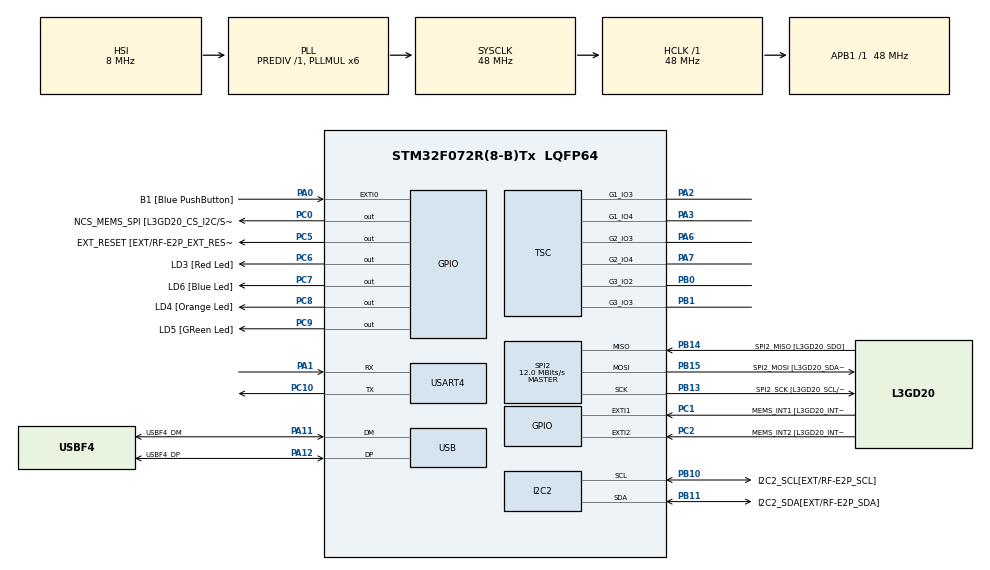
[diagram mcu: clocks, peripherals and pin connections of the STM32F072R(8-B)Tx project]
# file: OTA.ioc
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Dma.Request0=USART4_RX
Dma.Request1=USART4_TX
Dma.USART4_RX.0.Direction=DMA_PERIPH_TO_MEMORY
Dma.USART4_RX.0.Instance=DMA1_Channel6
Dma.USART4_RX.0.MemDataAlignment=DMA_MDATAALIGN_BYTE
Dma.USART4_RX.0.MemInc=DMA_MINC_ENABLE
Dma.USART4_RX.0.Mode=DMA_NORMAL
Dma.USART4_RX.0.PeriphDataAlignment=DMA_PDATAALIGN_BYTE
Dma.USART4_RX.0.PeriphInc=DMA_PINC_DISABLE
Dma.USART4_RX.0.Priority=DMA_PRIORITY_LOW
Dma.USART4_TX.1.Direction=DMA_MEMORY_TO_PERIPH
Dma.USART4_TX.1.Instance=DMA1_Channel7
Dma.USART4_TX.1.MemDataAlignment=DMA_MDATAALIGN_BYTE
Dma.USART4_TX.1.MemInc=DMA_MINC_ENABLE
Dma.USART4_TX.1.Mode=DMA_NORMAL
Dma.USART4_TX.1.PeriphDataAlignment=DMA_PDATAALIGN_BYTE
Dma.USART4_TX.1.PeriphInc=DMA_PINC_DISABLE
Dma.USART4_TX.1.Priority=DMA_PRIORITY_LOW
I2C2.Timing=0x20303E5D
Mcu.Family=STM32F0
Mcu.Name=STM32F072R(8-B)Tx
Mcu.Package=LQFP64
NVIC.DMA1_Channel4_5_6_7_IRQn=true\:0\:0\:false\:false\:true\:false\:true\:true
NVIC.USART3_4_IRQn=true\:0\:0\:false\:false\:true\:true\:true\:true
PA0.GPIO_Label=B1 [Blue PushButton]
PA0.GPIO_ModeDefaultEXTI=GPIO_MODE_EVT_RISING
PA0.Signal=GPXTI0
PA1.Mode=Asynchronous
PA1.Signal=USART4_RX
PA11.GPIO_Label=USBF4_DM
PA11.Mode=Device
PA11.Signal=USB_DM
PA12.GPIO_Label=USBF4_DP
PA12.Mode=Device
PA12.Signal=USB_DP
PA13.GPIO_Label=SWDIO
PA13.Mode=Serial_Wire
PA13.Signal=SYS_SWDIO
PA14.GPIO_Label=SWCLK
PA14.Mode=Serial_Wire
PA14.Signal=SYS_SWCLK
PA2.Mode=G1_IO3-Channel
PA2.Signal=TSC_G1_IO3
PA3.Mode=G1_IO4-Sampling
PA3.Signal=TSC_G1_IO4
PA6.Mode=G2_IO3-Channel
PA6.Signal=TSC_G2_IO3
PA7.Mode=G2_IO4-Sampling
PA7.Signal=TSC_G2_IO4
PB0.Mode=G3_IO2-Channel
PB0.Signal=TSC_G3_IO2
PB1.Mode=G3_IO3-Sampling
PB1.Signal=TSC_G3_IO3
PB10.GPIO_Label=I2C2_SCL[EXT/RF-E2P_SCL]
PB10.GPIO_Pu=GPIO_PULLUP
PB10.Mode=I2C
PB10.Signal=I2C2_SCL
PB11.GPIO_Label=I2C2_SDA[EXT/RF-E2P_SDA]
PB11.GPIO_Pu=GPIO_PULLUP
PB11.Mode=I2C
PB11.Signal=I2C2_SDA
PB13.GPIO_Label=SPI2_SCK [L3GD20_SCL/SPC]
PB13.Mode=Full_Duplex_Master
PB13.Signal=SPI2_SCK
PB14.GPIO_Label=SPI2_MISO [L3GD20_SDO]
PB14.Mode=Full_Duplex_Master
PB14.Signal=SPI2_MISO
PB15.GPIO_Label=SPI2_MOSI [L3GD20_SDA/SDI]
PB15.Mode=Full_Duplex_Master
PB15.Signal=SPI2_MOSI
PC0.GPIO_Label=NCS_MEMS_SPI [L3GD20_CS_I2C/SPI]
PC0.Signal=GPIO_Output
PC1.GPIO_Label=MEMS_INT1 [L3GD20_INT1]
PC1.GPIO_ModeDefaultEXTI=GPIO_MODE_EVT_RISING
PC1.Signal=GPXTI1
PC10.Mode=Asynchronous
PC10.Signal=USART4_TX
PC2.GPIO_Label=MEMS_INT2 [L3GD20_INT2]
PC2.GPIO_ModeDefaultEXTI=GPIO_MODE_EVT_RISING
PC2.Signal=GPXTI2
PC5.GPIO_Label=EXT_RESET [EXT/RF-E2P_EXT_RESET]
PC5.Signal=GPIO_Output
PC6.GPIO_Label=LD3 [Red Led]
PC6.Signal=GPIO_Output
PC7.GPIO_Label=LD6 [Blue Led]
PC7.Signal=GPIO_Output
PC8.GPIO_Label=LD4 [Orange Led]
PC8.Signal=GPIO_Output
PC9.GPIO_Label=LD5 [GReen Led]
PC9.Signal=GPIO_Output
ProjectManager.HeapSize=0x200
ProjectManager.StackSize=0x400
ProjectManager.TargetToolchain=CMake
RCC.AHBFreq_Value=48000000
RCC.APB1Freq_Value=48000000
RCC.APB1TimFreq_Value=48000000
RCC.HCLKFreq_Value=48000000
RCC.PLLMUL=RCC_PLL_MUL6
RCC.SYSCLKFreq_VALUE=48000000
RCC.SYSCLKSource=RCC_SYSCLKSOURCE_PLLCLK
SPI2.BaudRatePrescaler=SPI_BAUDRATEPRESCALER_4
SPI2.CalculateBaudRate=12.0 MBits/s
SPI2.Direction=SPI_DIRECTION_2LINES
SPI2.Mode=SPI_MODE_MASTER
SPI2.VirtualType=VM_MASTER
USART4.VirtualMode-Asynchronous=VM_ASYNC
USB.phy_itface=PCD_PHY_EMBEDDED
USB.speed=PCD_SPEED_FULL
VP_CRC_VS_CRC.Mode=CRC_Activate
board=STM32F072B-DISCO

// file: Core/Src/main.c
/* USER CODE BEGIN Header */
/**
  ******************************************************************************
  * @file           : main.c
  * @brief          : Main program body
  ******************************************************************************
  * @attention
  *
  * Copyright (c) 2026 STMicroelectronics.
  * All rights reserved.
  *
  * This software is licensed under terms that can be found in the LICENSE file
  * in the root directory of this software component.
  * If no LICENSE file comes with this software, it is provided AS-IS.
  *
  ******************************************************************************
  */
/* USER CODE END Header */
#include "main.h"
#include "stm32f072xb.h"
#include "stm32f0xx_hal.h"
#include "stm32f0xx_hal_gpio.h"
#include "flash_update.h"
#include "stm32f0xx_hal_rcc.h"
#include "ota_metadata.h"

CRC_HandleTypeDef hcrc;

I2C_HandleTypeDef hi2c2;

SPI_HandleTypeDef hspi2;

TSC_HandleTypeDef htsc;

UART_HandleTypeDef huart4;
DMA_HandleTypeDef hdma_usart4_rx;
DMA_HandleTypeDef hdma_usart4_tx;

PCD_HandleTypeDef hpcd_USB_FS;

uint8_t recieved_data[400];
static uint16_t uart_size;
char application_message[] = "Hello from application 1!";

void SystemClock_Config(void);
static void MX_GPIO_Init(void);
static void MX_DMA_Init(void);
static void MX_I2C2_Init(void);
static void MX_SPI2_Init(void);
static void MX_TSC_Init(void);
static void MX_USB_PCD_Init(void);
static void MX_CRC_Init(void);
static void MX_USART4_UART_Init(void);

/* USER CODE BEGIN 0 */

void HAL_UARTEx_RxEventCallback(UART_HandleTypeDef *huart, uint16_t Size)
{
  uart_size = Size;
  HAL_UARTEx_ReceiveToIdle_DMA(&huart4, recieved_data, sizeof(recieved_data));
}

uint8_t boot_verify_crc(uint8_t *data, uint8_t len, uint32_t crc_host)
{
  uint32_t crc_value = 0xff;
  for(uint32_t i = 0; i < len; i++)
  {
    uint32_t i_data = data[i];
    crc_value = HAL_CRC_Accumulate(&hcrc, &i_data, 1);
  }

  __HAL_CRC_DR_RESET(&hcrc);
  if (crc_value == crc_host)
  {
    return 0;
  }
  return 1;
}

/* USER CODE END 0 */

int main(void)
{

  /* MCU Configuration--------------------------------------------------------*/

  /* Reset of all peripherals, Initializes the Flash interface and the Systick. */
  HAL_Init();

  /* Configure the system clock */
  SystemClock_Config();

  /* Initialize all configured peripherals */
  MX_GPIO_Init();
  MX_DMA_Init();
  MX_I2C2_Init();
  MX_SPI2_Init();
  MX_TSC_Init();
  MX_USB_PCD_Init();
  MX_CRC_Init();
  MX_USART4_UART_Init();
  /* USER CODE BEGIN 2 */

  __HAL_RCC_GPIOA_CLK_ENABLE();
  __HAL_RCC_GPIOC_CLK_ENABLE();

  GPIO_InitTypeDef initStr1 = {GPIO_PIN_6 | GPIO_PIN_7 | GPIO_PIN_8 | GPIO_PIN_9, //LEDS
                              GPIO_MODE_OUTPUT_PP,
                              GPIO_NOPULL,
                              GPIO_SPEED_FREQ_LOW};

                              HAL_GPIO_Init(GPIOC,&initStr1);

  GPIO_InitTypeDef initStr2 = {GPIO_PIN_0, //Pushbutton
                              GPIO_MODE_INPUT,
                              GPIO_PULLDOWN,
                              GPIO_SPEED_FREQ_LOW};

                              HAL_GPIO_Init(GPIOA,&initStr2);

  button_interrupt_config();
  __NVIC_EnableIRQ(EXTI0_1_IRQn);
  NVIC_SetPriority(EXTI0_1_IRQn,1);

  /* Confirm this slot is healthy – clears trial-boot counter in metadata.
   * Move this call later (after connectivity/sensor checks) for a real app. */
  ota_confirm_current_slot();

  HAL_UARTEx_ReceiveToIdle_DMA(&huart4, recieved_data, sizeof(recieved_data));

  /* USER CODE END 2 */

  /* Infinite loop */
  /* USER CODE BEGIN WHILE */
  while (1)
  {
    if(uart_size)
    {
      /* returns 1 if the CRC doesn't pass */
      int crc_flag = boot_verify_crc(recieved_data, uart_size - 4, *((uint32_t *)&recieved_data[uart_size - 4]));

      if(crc_flag == 1)
      {
        //doesn't match
        HAL_GPIO_TogglePin(GPIOC, LD3_Pin);
      }
      else
      {
        //match
        HAL_GPIO_TogglePin(GPIOC, LD5_Pin);
        // printf("message: % \n", (char*)recieved_data);
      }
    }
    /* USER CODE END WHILE */

  }
}

void SystemClock_Config(void)
{
  RCC_OscInitTypeDef RCC_OscInitStruct = {0};
  RCC_ClkInitTypeDef RCC_ClkInitStruct = {0};
  RCC_PeriphCLKInitTypeDef PeriphClkInit = {0};

  /** Initializes the RCC Oscillators according to the specified parameters
  * in the RCC_OscInitTypeDef structure.
  */
  RCC_OscInitStruct.OscillatorType = RCC_OSCILLATORTYPE_HSI|RCC_OSCILLATORTYPE_HSI48;
  RCC_OscInitStruct.HSIState = RCC_HSI_ON;
  RCC_OscInitStruct.HSI48State = RCC_HSI48_ON;
  RCC_OscInitStruct.HSICalibrationValue = RCC_HSICALIBRATION_DEFAULT;
  RCC_OscInitStruct.PLL.PLLState = RCC_PLL_ON;
  RCC_OscInitStruct.PLL.PLLSource = RCC_PLLSOURCE_HSI;
  RCC_OscInitStruct.PLL.PLLMUL = RCC_PLL_MUL6;
  RCC_OscInitStruct.PLL.PREDIV = RCC_PREDIV_DIV1;
  if (HAL_RCC_OscConfig(&RCC_OscInitStruct) != HAL_OK)
  {
    Error_Handler();
  }

  /** Initializes the CPU, AHB and APB buses clocks
  */
  RCC_ClkInitStruct.ClockType = RCC_CLOCKTYPE_HCLK|RCC_CLOCKTYPE_SYSCLK
                              |RCC_CLOCKTYPE_PCLK1;
  RCC_ClkInitStruct.SYSCLKSource = RCC_SYSCLKSOURCE_PLLCLK;
  RCC_ClkInitStruct.AHBCLKDivider = RCC_SYSCLK_DIV1;
  RCC_ClkInitStruct.APB1CLKDivider = RCC_HCLK_DIV1;

  if (HAL_RCC_ClockConfig(&RCC_ClkInitStruct, FLASH_LATENCY_1) != HAL_OK)
  {
    Error_Handler();
  }
  PeriphClkInit.PeriphClockSelection = RCC_PERIPHCLK_USB;
  PeriphClkInit.UsbClockSelection = RCC_USBCLKSOURCE_HSI48;

  if (HAL_RCCEx_PeriphCLKConfig(&PeriphClkInit) != HAL_OK)
  {
    Error_Handler();
  }
}

void EXTI0_1_IRQHandler(void){
  flash_unlock();
  flash_erase_page(0x08010000);
  flash_write(0x08010000, 0x0001);
  flash_lock();
  EXTI->PR = (1);

}

static void MX_CRC_Init(void)
{

  hcrc.Instance = CRC;
  hcrc.Init.DefaultPolynomialUse = DEFAULT_POLYNOMIAL_ENABLE;
  hcrc.Init.DefaultInitValueUse = DEFAULT_INIT_VALUE_ENABLE;
  hcrc.Init.InputDataInversionMode = CRC_INPUTDATA_INVERSION_NONE;
  hcrc.Init.OutputDataInversionMode = CRC_OUTPUTDATA_INVERSION_DISABLE;
  hcrc.InputDataFormat = CRC_INPUTDATA_FORMAT_WORDS;
  if (HAL_CRC_Init(&hcrc) != HAL_OK)
  {
    Error_Handler();
  }

}

static void MX_I2C2_Init(void)
{

  hi2c2.Instance = I2C2;
  hi2c2.Init.Timing = 0x20303E5D;
  hi2c2.Init.OwnAddress1 = 0;
  hi2c2.Init.AddressingMode = I2C_ADDRESSINGMODE_7BIT;
  hi2c2.Init.DualAddressMode = I2C_DUALADDRESS_DISABLE;
  hi2c2.Init.OwnAddress2 = 0;
  hi2c2.Init.OwnAddress2Masks = I2C_OA2_NOMASK;
  hi2c2.Init.GeneralCallMode = I2C_GENERALCALL_DISABLE;
  hi2c2.Init.NoStretchMode = I2C_NOSTRETCH_DISABLE;
  if (HAL_I2C_Init(&hi2c2) != HAL_OK)
  {
    Error_Handler();
  }

  /** Configure Analogue filter
  */
  if (HAL_I2CEx_ConfigAnalogFilter(&hi2c2, I2C_ANALOGFILTER_ENABLE) != HAL_OK)
  {
    Error_Handler();
  }

  /** Configure Digital filter
  */
  if (HAL_I2CEx_ConfigDigitalFilter(&hi2c2, 0) != HAL_OK)
  {
    Error_Handler();
  }

}

static void MX_SPI2_Init(void)
{

  /* SPI2 parameter configuration*/
  hspi2.Instance = SPI2;
  hspi2.Init.Mode = SPI_MODE_MASTER;
  hspi2.Init.Direction = SPI_DIRECTION_2LINES;
  hspi2.Init.DataSize = SPI_DATASIZE_4BIT;
  hspi2.Init.CLKPolarity = SPI_POLARITY_LOW;
  hspi2.Init.CLKPhase = SPI_PHASE_1EDGE;
  hspi2.Init.NSS = SPI_NSS_SOFT;
  hspi2.Init.BaudRatePrescaler = SPI_BAUDRATEPRESCALER_4;
  hspi2.Init.FirstBit = SPI_FIRSTBIT_MSB;
  hspi2.Init.TIMode = SPI_TIMODE_DISABLE;
  hspi2.Init.CRCCalculation = SPI_CRCCALCULATION_DISABLE;
  hspi2.Init.CRCPolynomial = 7;
  hspi2.Init.CRCLength = SPI_CRC_LENGTH_DATASIZE;
  hspi2.Init.NSSPMode = SPI_NSS_PULSE_ENABLE;
  if (HAL_SPI_Init(&hspi2) != HAL_OK)
  {
    Error_Handler();
  }

}

static void MX_TSC_Init(void)
{

  /** Configure the TSC peripheral
  */
  htsc.Instance = TSC;
  htsc.Init.CTPulseHighLength = TSC_CTPH_2CYCLES;
  htsc.Init.CTPulseLowLength = TSC_CTPL_2CYCLES;
  htsc.Init.SpreadSpectrum = DISABLE;
  htsc.Init.SpreadSpectrumDeviation = 1;
  htsc.Init.SpreadSpectrumPrescaler = TSC_SS_PRESC_DIV1;
  htsc.Init.PulseGeneratorPrescaler = TSC_PG_PRESC_DIV4;
  htsc.Init.MaxCountValue = TSC_MCV_8191;
  htsc.Init.IODefaultMode = TSC_IODEF_OUT_PP_LOW;
  htsc.Init.SynchroPinPolarity = TSC_SYNC_POLARITY_FALLING;
  htsc.Init.AcquisitionMode = TSC_ACQ_MODE_NORMAL;
  htsc.Init.MaxCountInterrupt = DISABLE;
  htsc.Init.ChannelIOs = TSC_GROUP1_IO3|TSC_GROUP2_IO3|TSC_GROUP3_IO2;
  htsc.Init.ShieldIOs = 0;
  htsc.Init.SamplingIOs = TSC_GROUP1_IO4|TSC_GROUP2_IO4|TSC_GROUP3_IO3;
  if (HAL_TSC_Init(&htsc) != HAL_OK)
  {
    Error_Handler();
  }

}

static void MX_USART4_UART_Init(void)
{

  huart4.Instance = USART4;
  huart4.Init.BaudRate = 38400;
  huart4.Init.WordLength = UART_WORDLENGTH_8B;
  huart4.Init.StopBits = UART_STOPBITS_1;
  huart4.Init.Parity = UART_PARITY_NONE;
  huart4.Init.Mode = UART_MODE_TX_RX;
  huart4.Init.HwFlowCtl = UART_HWCONTROL_NONE;
  huart4.Init.OverSampling = UART_OVERSAMPLING_16;
  huart4.Init.OneBitSampling = UART_ONE_BIT_SAMPLE_DISABLE;
  huart4.AdvancedInit.AdvFeatureInit = UART_ADVFEATURE_NO_INIT;
  if (HAL_UART_Init(&huart4) != HAL_OK)
  {
    Error_Handler();
  }

}

static void MX_USB_PCD_Init(void)
{

  hpcd_USB_FS.Instance = USB;
  hpcd_USB_FS.Init.dev_endpoints = 8;
  hpcd_USB_FS.Init.speed = PCD_SPEED_FULL;
  hpcd_USB_FS.Init.phy_itface = PCD_PHY_EMBEDDED;
  hpcd_USB_FS.Init.low_power_enable = DISABLE;
  hpcd_USB_FS.Init.lpm_enable = DISABLE;
  hpcd_USB_FS.Init.battery_charging_enable = DISABLE;
  if (HAL_PCD_Init(&hpcd_USB_FS) != HAL_OK)
  {
    Error_Handler();
  }

}

static void MX_DMA_Init(void)
{

  /* DMA controller clock enable */
  __HAL_RCC_DMA1_CLK_ENABLE();

  /* DMA interrupt init */
  /* DMA1_Channel4_5_6_7_IRQn interrupt configuration */
  HAL_NVIC_SetPriority(DMA1_Channel4_5_6_7_IRQn, 0, 0);
  HAL_NVIC_EnableIRQ(DMA1_Channel4_5_6_7_IRQn);

}

static void MX_GPIO_Init(void)
{
  GPIO_InitTypeDef GPIO_InitStruct = {0};

  /* GPIO Ports Clock Enable */
  __HAL_RCC_GPIOC_CLK_ENABLE();
  __HAL_RCC_GPIOA_CLK_ENABLE();
  __HAL_RCC_GPIOB_CLK_ENABLE();

  /*Configure GPIO pin Output Level */
  HAL_GPIO_WritePin(GPIOC, NCS_MEMS_SPI_Pin|EXT_RESET_Pin|LD3_Pin|LD6_Pin
                          |LD4_Pin|LD5_Pin, GPIO_PIN_RESET);

  /*Configure GPIO pins : NCS_MEMS_SPI_Pin EXT_RESET_Pin LD3_Pin LD6_Pin
                           LD4_Pin LD5_Pin */
  GPIO_InitStruct.Pin = NCS_MEMS_SPI_Pin|EXT_RESET_Pin|LD3_Pin|LD6_Pin
                          |LD4_Pin|LD5_Pin;
  GPIO_InitStruct.Mode = GPIO_MODE_OUTPUT_PP;
  GPIO_InitStruct.Pull = GPIO_NOPULL;
  GPIO_InitStruct.Speed = GPIO_SPEED_FREQ_LOW;
  HAL_GPIO_Init(GPIOC, &GPIO_InitStruct);

  /*Configure GPIO pins : MEMS_INT1_Pin MEMS_INT2_Pin */
  GPIO_InitStruct.Pin = MEMS_INT1_Pin|MEMS_INT2_Pin;
  GPIO_InitStruct.Mode = GPIO_MODE_EVT_RISING;
  GPIO_InitStruct.Pull = GPIO_NOPULL;
  HAL_GPIO_Init(GPIOC, &GPIO_InitStruct);

  /*Configure GPIO pin : B1_Pin */
  GPIO_InitStruct.Pin = B1_Pin;
  GPIO_InitStruct.Mode = GPIO_MODE_EVT_RISING;
  GPIO_InitStruct.Pull = GPIO_NOPULL;
  HAL_GPIO_Init(B1_GPIO_Port, &GPIO_InitStruct);

}

void Error_Handler(void)
{
  __disable_irq();
  while (1)
  {
  }
}
